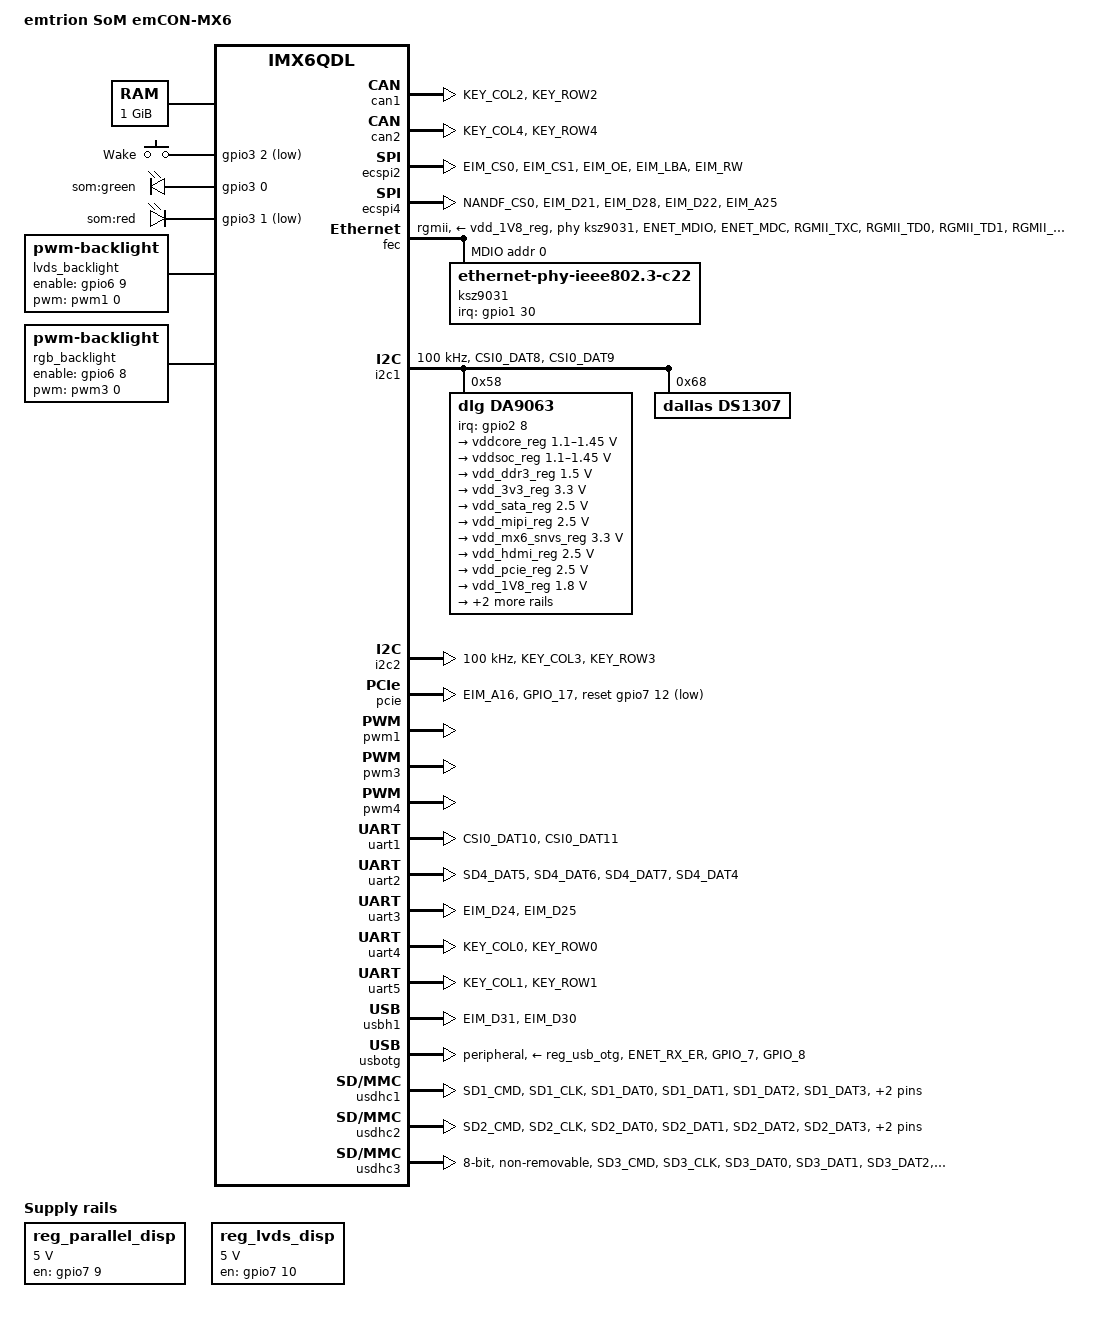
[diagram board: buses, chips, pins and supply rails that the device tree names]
// SPDX-License-Identifier: (GPL-2.0 OR MIT)
//
// Copyright (C) 2018 emtrion GmbH
//

#include <dt-bindings/gpio/gpio.h>
#include <dt-bindings/pwm/pwm.h>
#include <dt-bindings/input/input.h>

/ {

	model = "emtrion SoM emCON-MX6";
	compatible = "emtrion,emcon-mx6";

	aliases {
		mmc0 = &usdhc3;
		mmc1 = &usdhc2;
		mmc2 = &usdhc1;
		rtc0 = &ds1307;
	};

	chosen {
		stdout-path = &uart1;
	};

	memory@10000000 {
		device_type = "memory";
		reg = <0x10000000 0x40000000>;
	};

	gpio-keys {
		compatible = "gpio-keys";
		pinctrl-names = "default";
		pinctrl-0 = <&pinctrl_emcon_wake>;

		wake {
			label = "Wake";
			linux,code = <KEY_WAKEUP>;
			gpios = <&gpio3 2 GPIO_ACTIVE_LOW>;
			wakeup-source;
		};
	};

	som_leds: leds {
		compatible = "gpio-leds";
		pinctrl-names = "default";
		pinctrl-0 = <&pinctrl_som_leds>;

		led-green {
			label = "som:green";
			gpios = <&gpio3 0 GPIO_ACTIVE_HIGH>;
			linux,default-trigger = "heartbeat";
			default-state = "on";
		};

		led-red {
			label = "som:red";
			gpios = <&gpio3 1 GPIO_ACTIVE_LOW>;
			default-state = "keep";
		};

	};

	lvds_backlight: lvds-backlight {
		compatible = "pwm-backlight";
		pinctrl-names = "default";
		pinctrl-0 = <&pinctrl_lvds_bl>;
		enable-gpios = <&gpio6 9 GPIO_ACTIVE_HIGH>;
		pwms = <&pwm1 0 50000 0>;
		brightness-levels = <
			0 4 8 16 32 64 80 96 112
			128 144 160 176 250
		>;
		default-brightness-level = <13>;
		status = "okay";
	};

	pwm_fan: pwm-fan {
		compatible = "pwm-fan";
		#cooling-cells = <2>;
		pwms = <&pwm4 0 50000 0>;
		cooling-levels = <0 64 127 191 255>;
		status = "disabled";
	};


	rgb_encoder: display {
		compatible = "fsl,imx-parallel-display";
		#address-cells = <1>;
		#size-cells = <0>;
		pinctrl-names = "default";
		pinctrl-0 = <&pinctrl_rgb24_display>;
		status = "disabled";

		port@0 {
			reg = <0>;

			rgb_encoder_in: endpoint {
				remote-endpoint = <&ipu1_di0_disp0>;
			};
		};

		port@1 {
			reg = <1>;

			rgb_encoder_out: endpoint {
				remote-endpoint = <&rgb_panel_in>;
			};
		};
	};

	rgb_panel: lcd {
		backlight = <&rgb_backlight>;
		power-supply = <&reg_parallel_disp>;

		port {
			rgb_panel_in: endpoint {
				remote-endpoint = <&rgb_encoder_out>;
			};
		};
	};

	reg_parallel_disp: reg-parallel-display {
		compatible = "regulator-fixed";
		pinctrl-names = "default";
		pinctrl-0 = <&pinctrl_rgb_bl_en>;
		regulator-name = "LCD-Supply";
		regulator-min-microvolt = <5000000>;
		regulator-max-microvolt = <5000000>;
		gpio = <&gpio7 9 GPIO_ACTIVE_HIGH>;
		enable-active-high;
	};

	reg_lvds_disp: reg-lvds-display {
		compatible = "regulator-fixed";
		regulator-name = "LVDS-Supply";
		regulator-min-microvolt = <5000000>;
		regulator-max-microvolt = <5000000>;
		gpio = <&gpio7 10 GPIO_ACTIVE_HIGH>;
		enable-active-high;
	};

	rgb_backlight: rgb-backlight {
		compatible = "pwm-backlight";
		pinctrl-names = "default";
		pinctrl-0 = <&pinctrl_rgb_bl>;
		enable-gpios = <&gpio6 8 GPIO_ACTIVE_HIGH>;
		pwms = <&pwm3 0 5000000 0>;
		brightness-levels = <
			250 176 160 144 128 112
			96 80 64 48 32 16 8 1
		>;
		default-brightness-level = <13>;
		status = "okay";
	};
};

&can1 {
	pinctrl-names = "default";
	pinctrl-0 = <&pinctrl_can1>;
};

&can2 {
	pinctrl-names = "default";
	pinctrl-0 = <&pinctrl_can2>;
};

&ecspi2 {
	pinctrl-names = "default";
	pinctrl-0 = <&pinctrl_ecspi2>;
	cs-gpios = <&gpio2 26 GPIO_ACTIVE_LOW>,
		<&gpio2 27 GPIO_ACTIVE_LOW>;
};

&ecspi4 {
	pinctrl-names = "default";
	pinctrl-0 = <&pinctrl_nor_flash>;
};

&fec {
	pinctrl-names = "default";
	pinctrl-0 = <&pinctrl_enet>;
	phy-mode = "rgmii";
	phy-reset-gpios = <&gpio5 20 GPIO_ACTIVE_LOW>;
	phy-reset-duration = <50>;
	phy-supply = <&vdd_1V8_reg>;
	phy-handle = <&ksz9031>;
	status = "okay";

	mdio {
		#address-cells = <1>;
		#size-cells = <0>;

		ksz9031: phy@0 {
			compatible = "ethernet-phy-ieee802.3-c22";
			reg = <0>;
			interrupt-parent = <&gpio1>;
			interrupts = <30 IRQ_TYPE_EDGE_FALLING>;
			rxdv-skew-ps = <480>;
			txen-skew-ps = <480>;
			rxd0-skew-ps = <480>;
			rxd1-skew-ps = <480>;
			rxd2-skew-ps = <480>;
			rxd3-skew-ps = <480>;
			txd0-skew-ps = <420>;
			txd1-skew-ps = <420>;
			txd2-skew-ps = <360>;
			txd3-skew-ps = <360>;
			txc-skew-ps = <1020>;
			rxc-skew-ps = <960>;
		};
	};
};

&i2c1 {
	clock-frequency = <100000>;
	pinctrl-names = "default";
	pinctrl-0 = <&pinctrl_i2c1>;
	status = "okay";

	da9063: pmic@58 {
		compatible = "dlg,da9063";
		reg = <0x58>;
		pinctrl-names = "default";
		pinctrl-0 = <&pinctrl_pmic>;
		interrupt-parent = <&gpio2>;
		interrupts = <8 IRQ_TYPE_LEVEL_LOW>;

		onkey {
			compatible = "dlg,da9063-onkey";
			wakeup-source;
		};

		watchdog {
			compatible = "dlg,da9063-watchdog";
			timeout-sec = <0>;
		};

		regulators {
			vddcore_reg: bcore1 {
				regulator-min-microvolt = <1100000>;
				regulator-max-microvolt = <1450000>;
				regulator-ramp-delay = <2>;
				regulator-name = "DA9063_CORE";
				regulator-always-on;
			};

			vddsoc_reg: bcore2 {
				regulator-min-microvolt = <1100000>;
				regulator-max-microvolt = <1450000>;
				regulator-ramp-delay = <2>;
				regulator-name = "DA9063_SOC";
				regulator-always-on;
			};

			vdd_ddr3_reg: bpro {
				regulator-min-microvolt = <1500000>;
				regulator-max-microvolt = <1500000>;
				regulator-ramp-delay = <2>;
				regulator-always-on;
			};

			vdd_3v3_reg: bperi {
				regulator-min-microvolt = <3300000>;
				regulator-max-microvolt = <3300000>;
				regulator-ramp-delay = <2>;
				regulator-always-on;
			};

			vdd_sata_reg: ldo3 {
				regulator-min-microvolt = <2500000>;
				regulator-max-microvolt = <2500000>;
				regulator-always-on;
			};
			vdd_mipi_reg: ldo4 {
				regulator-min-microvolt = <2500000>;
				regulator-max-microvolt = <2500000>;
				regulator-always-on;
			};

			vdd_mx6_snvs_reg: ldo5 {
				regulator-min-microvolt = <3300000>;
				regulator-max-microvolt = <3300000>;
				regulator-always-on;
			};

			vdd_hdmi_reg: ldo6 {
				regulator-min-microvolt = <2500000>;
				regulator-max-microvolt = <2500000>;
				regulator-always-on;
				regulator-boot-on;
			};

			vdd_pcie_reg: ldo7 {
				regulator-min-microvolt = <2500000>;
				regulator-max-microvolt = <2500000>;
				regulator-always-on;
			};

			vdd_1V8_reg: ldo8 {
				regulator-min-microvolt = <1800000>;
				regulator-max-microvolt = <1800000>;
				regulator-always-on;
			};

			vdd_3V3_sdc_reg: ldo9 {
				regulator-min-microvolt = <1800000>;
				regulator-max-microvolt = <3300000>;
				regulator-always-on;
			};

			vdd_1V2_reg: ldo10 {
				regulator-min-microvolt = <1200000>;
				regulator-max-microvolt = <1200000>;
				regulator-always-on;
			};
		};
	};

	ds1307: rtc@68 {
		compatible = "dallas,ds1307";
		reg = <0x68>;
	};
};

&i2c2 {
	clock-frequency = <100000>;
	pinctrl-names = "default";
	pinctrl-0 = <&pinctrl_i2c2>;
};

&iomuxc {
	pinctrl_audmux: audmuxgrp {
		fsl,pins = <
			MX6QDL_PAD_CSI0_DAT7__AUD3_RXD			0x130b0
			MX6QDL_PAD_CSI0_DAT4__AUD3_TXC			0x1b060
			MX6QDL_PAD_CSI0_DAT5__AUD3_TXD			0x130B0
			MX6QDL_PAD_CSI0_DAT6__AUD3_TXFS			0x1b060
		>;
	};

	pinctrl_can1: can1grp {
		fsl,pins = <
			MX6QDL_PAD_KEY_COL2__FLEXCAN1_TX		0x1b0b1
			MX6QDL_PAD_KEY_ROW2__FLEXCAN1_RX		0x1b0b1
		>;
	};

	pinctrl_can2: can2grp {
		fsl,pins = <
			MX6QDL_PAD_KEY_COL4__FLEXCAN2_TX		0x1b0b1
			MX6QDL_PAD_KEY_ROW4__FLEXCAN2_RX		0x1b0b1
		>;
	};

	pinctrl_cpi1: csi0grp {
		fsl,pins = <
			MX6QDL_PAD_CSI0_PIXCLK__IPU1_CSI0_PIXCLK 0xb0b1
			MX6QDL_PAD_CSI0_MCLK__IPU1_CSI0_HSYNC	0x1b0b1
			MX6QDL_PAD_CSI0_VSYNC__IPU1_CSI0_VSYNC	0x1b0b1
			MX6QDL_PAD_CSI0_DAT12__IPU1_CSI0_DATA12 0x1b0b1
			MX6QDL_PAD_CSI0_DAT13__IPU1_CSI0_DATA13 0x1b0b1
			MX6QDL_PAD_CSI0_DAT14__IPU1_CSI0_DATA14 0x1b0b1
			MX6QDL_PAD_CSI0_DAT15__IPU1_CSI0_DATA15 0x1b0b1
			MX6QDL_PAD_CSI0_DAT16__IPU1_CSI0_DATA16 0x1b0b1
			MX6QDL_PAD_CSI0_DAT17__IPU1_CSI0_DATA17 0x1b0b1
			MX6QDL_PAD_CSI0_DAT18__IPU1_CSI0_DATA18 0x1b0b1
			MX6QDL_PAD_CSI0_DAT19__IPU1_CSI0_DATA19 0x1b0b1
		>;
	};

	/*camera2-pinctrl is in imx6q-emcon.dtsi or imx6dl-emcon.dtsi*/

	pinctrl_ecspi2: ecspi2grp {
		fsl,pins = <
			MX6QDL_PAD_EIM_CS0__ECSPI2_SCLK			0x100b1
			MX6QDL_PAD_EIM_CS1__ECSPI2_MOSI			0x100b1
			MX6QDL_PAD_EIM_OE__ECSPI2_MISO			0x100b1
			MX6QDL_PAD_EIM_LBA__GPIO2_IO27			0x100b1
			MX6QDL_PAD_EIM_RW__GPIO2_IO26			0x100b1
		>;
	};

	pinctrl_emcon_gpio1: emcongpio1grp {
		fsl,pins = <
			MX6QDL_PAD_NANDF_D0__GPIO2_IO00			0x0b0b1
		>;
	};

	pinctrl_emcon_gpio2: emcongpio2grp {
		fsl,pins = <
			MX6QDL_PAD_NANDF_D1__GPIO2_IO01			0x0b0b1
		>;
	};

	pinctrl_emcon_gpio3: emcongpio3grp {
		fsl,pins = <
			MX6QDL_PAD_NANDF_D2__GPIO2_IO02			0x0b0b1
		>;
	};

	pinctrl_emcon_gpio4: emcongpio4grp {
		fsl,pins = <
			MX6QDL_PAD_NANDF_D3__GPIO2_IO03			0x0b0b1
		>;
	};

	pinctrl_emcon_gpio5: emcongpio5grp {
		fsl,pins = <
			MX6QDL_PAD_NANDF_D4__GPIO2_IO04			0x0b0b1
		>;
	};

	pinctrl_emcon_gpio6: emcongpio6grp {
		fsl,pins = <
			MX6QDL_PAD_NANDF_D5__GPIO2_IO05			0x0b0b1
		>;
	};

	pinctrl_emcon_gpio7: emcongpio7grp {
		fsl,pins = <
			MX6QDL_PAD_NANDF_D6__GPIO2_IO06			0x0b0b1
		>;
	};

	pinctrl_emcon_gpio8: emcongpio8grp {
		fsl,pins = <
			MX6QDL_PAD_NANDF_D7__GPIO2_IO07			0x0b0b1
		>;
	};

	pinctrl_emcon_irq_a: emconirqagrp {
		fsl,pins = <
			MX6QDL_PAD_NANDF_CLE__GPIO6_IO07		0x0b0b1
		>;
	};

	pinctrl_emcon_irq_b: emconirqbgrp {
		fsl,pins = <
			MX6QDL_PAD_NANDF_CS2__GPIO6_IO15		0x0b0b1
		>;
	};

	pinctrl_emcon_irq_c: emconirqcgrp {
		fsl,pins = <
			MX6QDL_PAD_NANDF_CS3__GPIO6_IO16		0x0b0b1
		>;
	};

	pinctrl_emcon_irq_pwr: emconirqpwrgrp {
		fsl,pins = <
			MX6QDL_PAD_EIM_D23__GPIO3_IO23			0x0b0b1
		>;
	};

	pinctrl_emcon_wake: emconwakegrp {
		fsl,pins = <
			MX6QDL_PAD_EIM_DA2__GPIO3_IO02			0x1b0b1
		>;
	};

	pinctrl_enet: enetgrp {
		fsl,pins = <
			MX6QDL_PAD_ENET_MDIO__ENET_MDIO			0x1b030
			MX6QDL_PAD_ENET_MDC__ENET_MDC			0x1b030
			MX6QDL_PAD_RGMII_TXC__RGMII_TXC			0x1b030
			MX6QDL_PAD_RGMII_TD0__RGMII_TD0			0x1b030
			MX6QDL_PAD_RGMII_TD1__RGMII_TD1			0x1b030
			MX6QDL_PAD_RGMII_TD2__RGMII_TD2			0x1b030
			MX6QDL_PAD_RGMII_TD3__RGMII_TD3			0x1b030
			MX6QDL_PAD_RGMII_TX_CTL__RGMII_TX_CTL	0x1b030
			MX6QDL_PAD_ENET_REF_CLK__ENET_TX_CLK	0x4001a0b1
			MX6QDL_PAD_RGMII_RXC__RGMII_RXC			0x1b030
			MX6QDL_PAD_RGMII_RD0__RGMII_RD0			0x1b030
			MX6QDL_PAD_RGMII_RD1__RGMII_RD1			0x1b030
			MX6QDL_PAD_RGMII_RD2__RGMII_RD2			0x1b030
			MX6QDL_PAD_RGMII_RD3__RGMII_RD3			0x1b030
			MX6QDL_PAD_RGMII_RX_CTL__RGMII_RX_CTL	0x1b0b0
			MX6QDL_PAD_CSI0_DATA_EN__GPIO5_IO20		0x1b058
			MX6QDL_PAD_ENET_TXD0__GPIO1_IO30		0x1b0b0
		 >;
	};

	pinctrl_i2c1: i2c1grp {
		fsl,pins = <
			MX6QDL_PAD_CSI0_DAT8__I2C1_SDA		0x4001b8b1
			MX6QDL_PAD_CSI0_DAT9__I2C1_SCL		0x4001b8b1
		>;
	};

	pinctrl_i2c2: i2c2grp {
		fsl,pins = <
			MX6QDL_PAD_KEY_COL3__I2C2_SCL		0x4001b8b1
			MX6QDL_PAD_KEY_ROW3__I2C2_SDA		0x4001b8b1
		>;
	};

	pinctrl_i2c3: i2c3grp {
		fsl,pins = <
			MX6QDL_PAD_GPIO_3__I2C3_SCL		0x4000b070
			MX6QDL_PAD_GPIO_6__I2C3_SDA		0x4001b870
		>;
	};

	pinctrl_irq_touch1: irqtouch1grp {
		fsl,pins = <
			MX6QDL_PAD_GPIO_5__GPIO1_IO05			0x0b0b1
		>;
	};

	pinctrl_irq_touch2: irqtouch2grp {
		fsl,pins = <
			MX6QDL_PAD_EIM_BCLK__GPIO6_IO31			0x0b0b1
		>;
	};

	pinctrl_lvds_bl: lvdsbacklightgrp {
		fsl,pins = <
			MX6QDL_PAD_GPIO_9__PWM1_OUT			0x0b0b1
			MX6QDL_PAD_NANDF_WP_B__GPIO6_IO09		0x0b0b1
		>;
	};

	pinctrl_lvds_reg: lvdsreggrp {
		fsl,pins = <
			MX6QDL_PAD_SD4_CLK__GPIO7_IO10			0x0b0b1
		>;
	};


	pinctrl_nor_flash: norflashgrp {
		fsl,pins = <
			MX6QDL_PAD_NANDF_CS0__GPIO6_IO11		0x1b0b1
			MX6QDL_PAD_EIM_D21__ECSPI4_SCLK			0x100b1
			MX6QDL_PAD_EIM_D28__ECSPI4_MOSI			0x100b1
			MX6QDL_PAD_EIM_D22__ECSPI4_MISO			0x100b1
			MX6QDL_PAD_EIM_A25__GPIO5_IO02			0x100b1
		>;
	};

	pinctrl_pcie_ctrl: pciegrp {
		fsl,pins = <
			MX6QDL_PAD_EIM_A16__GPIO2_IO22			0x1b0b1
			MX6QDL_PAD_GPIO_17__GPIO7_IO12			0x1b0b1
		>;
	};

	pinctrl_pmic: pmicgrp {
		fsl,pins = <
			MX6QDL_PAD_SD4_DAT0__GPIO2_IO08			0x0b0b1
		>;
	};

	pinctrl_pwm_fan: pwmfangrp {
		fsl,pins = <
			MX6QDL_PAD_SD4_DAT2__PWM4_OUT			0x0b0b1
		>;
	};

	pinctrl_rgb_bl: rgbbacklightgrp {
		fsl,pins = <
			MX6QDL_PAD_SD4_DAT1__PWM3_OUT			0x0b0b1
			MX6QDL_PAD_NANDF_ALE__GPIO6_IO08		0x0b0b1
		>;
	};

	pinctrl_rgb_bl_en: rgbenablegrp {
		fsl,pins = <
			MX6QDL_PAD_SD4_CMD__GPIO7_IO09			0x0b0b1
		>;
	};

	pinctrl_rgb24_display: rgbgrp {
		fsl,pins = <
			MX6QDL_PAD_DI0_DISP_CLK__IPU1_DI0_DISP_CLK 0x10
			MX6QDL_PAD_DI0_PIN15__IPU1_DI0_PIN15       0x10
			MX6QDL_PAD_DI0_PIN2__IPU1_DI0_PIN02        0x10
			MX6QDL_PAD_DI0_PIN3__IPU1_DI0_PIN03        0x10
			MX6QDL_PAD_DISP0_DAT0__IPU1_DISP0_DATA00   0x10
			MX6QDL_PAD_DISP0_DAT1__IPU1_DISP0_DATA01   0x10
			MX6QDL_PAD_DISP0_DAT2__IPU1_DISP0_DATA02   0x10
			MX6QDL_PAD_DISP0_DAT3__IPU1_DISP0_DATA03   0x10
			MX6QDL_PAD_DISP0_DAT4__IPU1_DISP0_DATA04   0x10
			MX6QDL_PAD_DISP0_DAT5__IPU1_DISP0_DATA05   0x10
			MX6QDL_PAD_DISP0_DAT6__IPU1_DISP0_DATA06   0x10
			MX6QDL_PAD_DISP0_DAT7__IPU1_DISP0_DATA07   0x10
			MX6QDL_PAD_DISP0_DAT8__IPU1_DISP0_DATA08   0x10
			MX6QDL_PAD_DISP0_DAT9__IPU1_DISP0_DATA09   0x10
			MX6QDL_PAD_DISP0_DAT10__IPU1_DISP0_DATA10  0x10
			MX6QDL_PAD_DISP0_DAT11__IPU1_DISP0_DATA11  0x10
			MX6QDL_PAD_DISP0_DAT12__IPU1_DISP0_DATA12  0x10
			MX6QDL_PAD_DISP0_DAT13__IPU1_DISP0_DATA13  0x10
			MX6QDL_PAD_DISP0_DAT14__IPU1_DISP0_DATA14  0x10
			MX6QDL_PAD_DISP0_DAT15__IPU1_DISP0_DATA15  0x10
			MX6QDL_PAD_DISP0_DAT16__IPU1_DISP0_DATA16  0x10
			MX6QDL_PAD_DISP0_DAT17__IPU1_DISP0_DATA17  0x10
			MX6QDL_PAD_DISP0_DAT18__IPU1_DISP0_DATA18  0x10
			MX6QDL_PAD_DISP0_DAT19__IPU1_DISP0_DATA19  0x10
			MX6QDL_PAD_DISP0_DAT20__IPU1_DISP0_DATA20  0x10
			MX6QDL_PAD_DISP0_DAT21__IPU1_DISP0_DATA21  0x10
			MX6QDL_PAD_DISP0_DAT22__IPU1_DISP0_DATA22  0x10
			MX6QDL_PAD_DISP0_DAT23__IPU1_DISP0_DATA23  0x10
		>;
	};

	pinctrl_secure: securegrp {
		fsl,pins = <
			MX6QDL_PAD_GPIO_18__GPIO7_IO13			0x1b0b1
		>;
	};

	pinctrl_som_leds: somledgrp {
		fsl,pins = <
			MX6QDL_PAD_EIM_DA0__GPIO3_IO00			0x0b0b1
			MX6QDL_PAD_EIM_DA1__GPIO3_IO01			0x0b0b1
		>;
	};

	pinctrl_spdif_in: spdifingrp {
		fsl,pins = <
			MX6QDL_PAD_GPIO_16__SPDIF_IN			0x1b0b0
		>;
	};

	pinctrl_spdif_out: spdifoutgrp {
		fsl,pins = <
			MX6QDL_PAD_GPIO_19__SPDIF_OUT			0x13091
		>;
	};

	pinctrl_uart1: uart1grp {
		fsl,pins = <
			MX6QDL_PAD_CSI0_DAT10__UART1_TX_DATA	0x1b0b1
			MX6QDL_PAD_CSI0_DAT11__UART1_RX_DATA	0x1b0b1
		>;
	};

	pinctrl_uart2: uart2grp {
		fsl,pins = <
			MX6QDL_PAD_SD4_DAT5__UART2_RTS_B		0x1b0b1
			MX6QDL_PAD_SD4_DAT6__UART2_CTS_B		0x1b0b1
			MX6QDL_PAD_SD4_DAT7__UART2_TX_DATA		0x1b0b1
			MX6QDL_PAD_SD4_DAT4__UART2_RX_DATA		0x1b0b1
		>;
	};

	pinctrl_uart3: uart3grp {
		fsl,pins = <
			MX6QDL_PAD_EIM_D24__UART3_TX_DATA		0x1b0b1
			MX6QDL_PAD_EIM_D25__UART3_RX_DATA		0x1b0b1
		>;
	};

	pinctrl_uart4: uart4grp {
		fsl,pins = <
			MX6QDL_PAD_KEY_COL0__UART4_TX_DATA		0x1b0b1
			MX6QDL_PAD_KEY_ROW0__UART4_RX_DATA		0x1b0b1
		>;
	};

	pinctrl_uart5: uart5grp {
		fsl,pins = <
			MX6QDL_PAD_KEY_COL1__UART5_TX_DATA		0x1b0b1
			MX6QDL_PAD_KEY_ROW1__UART5_RX_DATA		0x1b0b1
		>;
	};

	pinctrl_usb_host1: usbhgrp {
		fsl,pins = <
			MX6QDL_PAD_EIM_D31__USB_H1_PWR			0x1B058
			MX6QDL_PAD_EIM_D30__USB_H1_OC			0x1B058
		>;
	};

	pinctrl_usb_otg: usbotggrp {
		fsl,pins = <
			MX6QDL_PAD_ENET_RX_ER__USB_OTG_ID		0x17059
			MX6QDL_PAD_GPIO_7__GPIO1_IO07			0x17059
			MX6QDL_PAD_GPIO_8__GPIO1_IO08			0x17059
		>;
	};

	pinctrl_usdhc1: usdhc1grp {
		fsl,pins = <
			MX6QDL_PAD_SD1_CMD__SD1_CMD			0x17059
			MX6QDL_PAD_SD1_CLK__SD1_CLK			0x10059
			MX6QDL_PAD_SD1_DAT0__SD1_DATA0			0x17059
			MX6QDL_PAD_SD1_DAT1__SD1_DATA1			0x17059
			MX6QDL_PAD_SD1_DAT2__SD1_DATA2			0x17059
			MX6QDL_PAD_SD1_DAT3__SD1_DATA3			0x17059
			MX6QDL_PAD_GPIO_1__SD1_CD_B			0x1b0b1
			MX6QDL_PAD_DI0_PIN4__SD1_WP			0x1b0b1
		>;
	};

	pinctrl_usdhc2: usdhc2grp {
		fsl,pins = <
			MX6QDL_PAD_SD2_CMD__SD2_CMD			0x17059
			MX6QDL_PAD_SD2_CLK__SD2_CLK			0x10059
			MX6QDL_PAD_SD2_DAT0__SD2_DATA0			0x17059
			MX6QDL_PAD_SD2_DAT1__SD2_DATA1			0x17059
			MX6QDL_PAD_SD2_DAT2__SD2_DATA2			0x17059
			MX6QDL_PAD_SD2_DAT3__SD2_DATA3			0x17059
			MX6QDL_PAD_GPIO_4__SD2_CD_B			0x1b0b1
			MX6QDL_PAD_GPIO_2__SD2_WP			0x1b0b1
		>;
	};

	pinctrl_usdhc3: usdhc3grp {
		fsl,pins = <
			MX6QDL_PAD_SD3_CMD__SD3_CMD			0x17059
			MX6QDL_PAD_SD3_CLK__SD3_CLK			0x10059
			MX6QDL_PAD_SD3_DAT0__SD3_DATA0			0x17059
			MX6QDL_PAD_SD3_DAT1__SD3_DATA1			0x17059
			MX6QDL_PAD_SD3_DAT2__SD3_DATA2			0x17059
			MX6QDL_PAD_SD3_DAT3__SD3_DATA3			0x17059
			MX6QDL_PAD_SD3_DAT4__SD3_DATA4			0x17059
			MX6QDL_PAD_SD3_DAT5__SD3_DATA5			0x17059
			MX6QDL_PAD_SD3_DAT6__SD3_DATA6			0x17059
			MX6QDL_PAD_SD3_DAT7__SD3_DATA7			0x17059
			MX6QDL_PAD_SD3_RST__SD3_RESET			0x1b0b1
		>;
	};
};

&ipu1_di0_disp0 {
	remote-endpoint = <&rgb_encoder_in>;
};

&pcie {
	pinctrl-names = "default";
	pinctrl-0 = <&pinctrl_pcie_ctrl>;
	reset-gpio = <&gpio7 12 GPIO_ACTIVE_LOW>;
	disable-gpio = <&gpio2 22 GPIO_ACTIVE_LOW>;
};

&pwm1 {
	status = "okay";
};

&pwm3 {
	status = "okay";
};

&pwm4 {
	status = "okay";
};

&uart1 {
	pinctrl-names = "default";
	pinctrl-0 = <&pinctrl_uart1>;
	status = "okay";
};

&uart2 {
	pinctrl-names = "default";
	pinctrl-0 = <&pinctrl_uart2>;
};

&uart3 {
	pinctrl-names = "default";
	pinctrl-0 = <&pinctrl_uart3>;
};

&uart4 {
	pinctrl-names = "default";
	pinctrl-0 = <&pinctrl_uart4>;
};

&uart5 {
	pinctrl-names = "default";
	pinctrl-0 = <&pinctrl_uart5>;
};

&usbh1 {
	pinctrl-names = "default";
	pinctrl-0 = <&pinctrl_usb_host1>;
};

&usbotg {
	pinctrl-names = "default";
	pinctrl-0 = <&pinctrl_usb_otg>;
	vbus-supply = <&reg_usb_otg>;
	dr_mode = "peripheral";
};

&usdhc1 {
	pinctrl-names = "default";
	pinctrl-0 = <&pinctrl_usdhc1>;
	fsl,wp-controller;
};

&usdhc2 {
	pinctrl-names = "default";
	pinctrl-0 = <&pinctrl_usdhc2>;
	fsl,wp-controller;
};

&usdhc3 {
	pinctrl-names = "default";
	pinctrl-0 = <&pinctrl_usdhc3>;
	non-removable;
	bus-width = <8>;
	status = "okay";
};

/******device power Management*********/

&cpu0 {
	voltage-tolerance = <2>;
};

&reg_arm {
	vin-supply = <&vddcore_reg>;
};

&reg_soc {
	vin-supply = <&vddsoc_reg>;
};

&reg_pu {
	vin-supply = <&vddsoc_reg>;
};

/*******Disabled HW following***********/

&snvs_rtc {
	status = "disabled";
};
